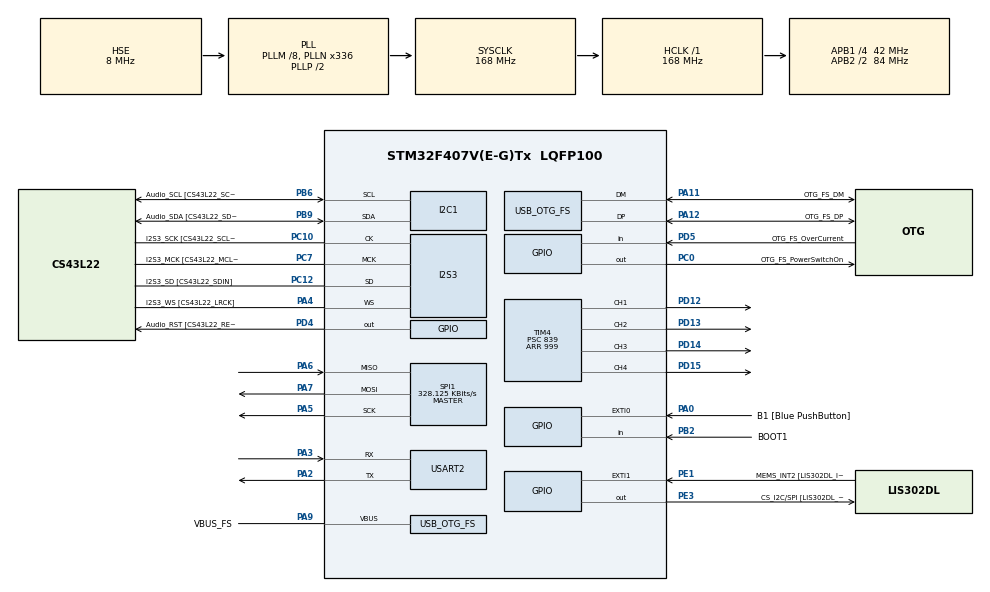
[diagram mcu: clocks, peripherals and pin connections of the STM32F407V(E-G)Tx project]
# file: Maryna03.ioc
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I2S3.AudioFreq-Half_Duplex_Master=I2S_AUDIOFREQ_96K
I2S3.ErrorAudioFreq=-2.34 %
I2S3.ErrorAudioFreq-Half_Duplex_Master=0.8 %
I2S3.FullDuplexMode=I2S_FULLDUPLEXMODE_DISABLE
I2S3.Instance=SPI$Index
I2S3.RealAudioFreq=93.75 KHz
I2S3.RealAudioFreq-Half_Duplex_Master=96.774 KHz
I2S3.VirtualMode=I2S_MODE_MASTER
Mcu.Family=STM32F4
Mcu.Name=STM32F407V(E-G)Tx
Mcu.Package=LQFP100
NVIC.OTG_FS_IRQn=true\:0\:0\:false\:false\:true\:true\:true
NVIC.PriorityGroup=NVIC_PRIORITYGROUP_0
NVIC.USART2_IRQn=true\:0\:0\:false\:false\:true\:true\:true
PA0-WKUP.GPIO_Label=B1 [Blue PushButton]
PA0-WKUP.GPIO_ModeDefaultEXTI=GPIO_MODE_EVT_RISING
PA0-WKUP.GPIO_PuPd=GPIO_NOPULL
PA0-WKUP.Signal=GPXTI0
PA11.GPIO_Label=OTG_FS_DM
PA11.GPIO_Mode=GPIO_MODE_AF_PP
PA11.GPIO_PuPd=GPIO_NOPULL
PA11.GPIO_Speed=GPIO_SPEED_FREQ_LOW
PA11.Mode=Host_Only
PA11.Signal=USB_OTG_FS_DM
PA12.GPIO_Label=OTG_FS_DP
PA12.GPIO_Mode=GPIO_MODE_AF_PP
PA12.GPIO_PuPd=GPIO_NOPULL
PA12.GPIO_Speed=GPIO_SPEED_FREQ_LOW
PA12.Mode=Host_Only
PA12.Signal=USB_OTG_FS_DP
PA13.GPIO_Label=SWDIO
PA13.Mode=Serial_Wire
PA13.Signal=SYS_JTMS-SWDIO
PA14.GPIO_Label=SWCLK
PA14.Mode=Serial_Wire
PA14.Signal=SYS_JTCK-SWCLK
PA2.Mode=Asynchronous
PA2.Signal=USART2_TX
PA3.Mode=Asynchronous
PA3.Signal=USART2_RX
PA4.GPIO_Label=I2S3_WS [CS43L22_LRCK]
PA4.GPIO_Mode=GPIO_MODE_AF_PP
PA4.GPIO_PuPd=GPIO_NOPULL
PA4.GPIO_Speed=GPIO_SPEED_FREQ_LOW
PA4.Mode=Half_Duplex_Master
PA4.Signal=I2S3_WS
PA5.Mode=Full_Duplex_Master
PA5.Signal=SPI1_SCK
PA6.Mode=Full_Duplex_Master
PA6.Signal=SPI1_MISO
PA7.Mode=Full_Duplex_Master
PA7.Signal=SPI1_MOSI
PA9.GPIO_Label=VBUS_FS
PA9.GPIO_Mode=GPIO_MODE_INPUT
PA9.GPIO_PuPd=GPIO_NOPULL
PA9.Mode=Activate_VBUS
PA9.Signal=USB_OTG_FS_VBUS
PB2.GPIO_Label=BOOT1
PB2.GPIO_Mode=GPIO_MODE_INPUT
PB2.GPIO_PuPd=GPIO_NOPULL
PB2.Signal=GPIO_Input
PB6.GPIO_Label=Audio_SCL [CS43L22_SCL]
PB6.GPIO_Mode=GPIO_MODE_AF_OD
PB6.GPIO_Pu=GPIO_PULLUP
PB6.GPIO_PuPd=GPIO_NOPULL
PB6.GPIO_Speed=GPIO_SPEED_FREQ_LOW
PB6.Mode=I2C
PB6.Signal=I2C1_SCL
PB9.GPIO_Label=Audio_SDA [CS43L22_SDA]
PB9.GPIO_Mode=GPIO_MODE_AF_OD
PB9.GPIO_Pu=GPIO_PULLUP
PB9.GPIO_PuPd=GPIO_NOPULL
PB9.GPIO_Speed=GPIO_SPEED_FREQ_LOW
PB9.Mode=I2C
PB9.Signal=I2C1_SDA
PC0.GPIO_Label=OTG_FS_PowerSwitchOn
PC0.GPIO_PuPd=GPIO_NOPULL
PC0.GPIO_Speed=GPIO_SPEED_FREQ_LOW
PC0.PinState=GPIO_PIN_SET
PC0.Signal=GPIO_Output
PC10.GPIO_Label=I2S3_SCK [CS43L22_SCLK]
PC10.GPIO_Mode=GPIO_MODE_AF_PP
PC10.GPIO_PuPd=GPIO_NOPULL
PC10.GPIO_Speed=GPIO_SPEED_FREQ_LOW
PC10.Mode=Half_Duplex_Master
PC10.Signal=I2S3_CK
PC12.GPIO_Label=I2S3_SD [CS43L22_SDIN]
PC12.GPIO_Mode=GPIO_MODE_AF_PP
PC12.GPIO_PuPd=GPIO_NOPULL
PC12.GPIO_Speed=GPIO_SPEED_FREQ_LOW
PC12.Mode=Half_Duplex_Master
PC12.Signal=I2S3_SD
PC14-OSC32_IN.GPIO_Label=PC14-OSC32_IN
PC14-OSC32_IN.Mode=LSE-External-Oscillator
PC14-OSC32_IN.Signal=RCC_OSC32_IN
PC15-OSC32_OUT.GPIO_Label=PC15-OSC32_OUT
PC15-OSC32_OUT.Mode=LSE-External-Oscillator
PC15-OSC32_OUT.Signal=RCC_OSC32_OUT
PC7.GPIO_Label=I2S3_MCK [CS43L22_MCLK]
PC7.GPIO_Mode=GPIO_MODE_AF_PP
PC7.GPIO_PuPd=GPIO_NOPULL
PC7.GPIO_Speed=GPIO_SPEED_FREQ_LOW
PC7.Mode=Master_Clock_Activated
PC7.Signal=I2S3_MCK
PD12.Signal=S_TIM4_CH1
PD13.Signal=S_TIM4_CH2
PD14.Signal=S_TIM4_CH3
PD15.Signal=S_TIM4_CH4
PD4.GPIO_Label=Audio_RST [CS43L22_RESET]
PD4.GPIO_PuPd=GPIO_NOPULL
PD4.GPIO_Speed=GPIO_SPEED_FREQ_LOW
PD4.Signal=GPIO_Output
PD5.GPIO_Label=OTG_FS_OverCurrent
PD5.GPIO_Mode=GPIO_MODE_INPUT
PD5.GPIO_PuPd=GPIO_NOPULL
PD5.Signal=GPIO_Input
PE1.GPIO_Label=MEMS_INT2 [LIS302DL_INT2]
PE1.GPIO_ModeDefaultEXTI=GPIO_MODE_EVT_RISING
PE1.GPIO_PuPd=GPIO_NOPULL
PE1.Signal=GPXTI1
PE3.GPIO_Label=CS_I2C/SPI [LIS302DL_CS_I2C/SPI]
PE3.GPIO_PuPd=GPIO_NOPULL
PE3.GPIO_Speed=GPIO_SPEED_FREQ_HIGH
PE3.PinState=GPIO_PIN_SET
PE3.Signal=GPIO_Output
PH0-OSC_IN.GPIO_Label=PH0-OSC_IN
PH0-OSC_IN.Mode=HSE-External-Oscillator
PH0-OSC_IN.Signal=RCC_OSC_IN
PH1-OSC_OUT.GPIO_Label=PH1-OSC_OUT
PH1-OSC_OUT.Mode=HSE-External-Oscillator
PH1-OSC_OUT.Signal=RCC_OSC_OUT
ProjectManager.HeapSize=0x200
ProjectManager.StackSize=0x400
ProjectManager.TargetToolchain=STM32CubeIDE
RCC.48MHZClocksFreq_Value=48000000
RCC.AHBFreq_Value=168000000
RCC.APB1CLKDivider=RCC_HCLK_DIV4
RCC.APB1Freq_Value=42000000
RCC.APB1TimFreq_Value=84000000
RCC.APB2CLKDivider=RCC_HCLK_DIV2
RCC.APB2Freq_Value=84000000
RCC.APB2TimFreq_Value=168000000
RCC.CortexFreq_Value=168000000
RCC.HCLKFreq_Value=168000000
RCC.HSE_VALUE=8000000
RCC.HSI_VALUE=16000000
RCC.PLLM=8
RCC.PLLN=336
RCC.PLLQ=7
RCC.SYSCLKFreq_VALUE=168000000
RCC.SYSCLKSource=RCC_SYSCLKSOURCE_PLLCLK
RCC.VCOOutputFreq_Value=336000000
SH.S_TIM4_CH1.0=TIM4_CH1,PWM Generation1 CH1
SH.S_TIM4_CH2.0=TIM4_CH2,PWM Generation2 CH2
SH.S_TIM4_CH3.0=TIM4_CH3,PWM Generation3 CH3
SH.S_TIM4_CH4.0=TIM4_CH4,PWM Generation4 CH4
SPI1.BaudRatePrescaler=SPI_BAUDRATEPRESCALER_256
SPI1.CLKPhase=SPI_PHASE_2EDGE
SPI1.CLKPolarity=SPI_POLARITY_HIGH
SPI1.CalculateBaudRate=328.125 KBits/s
SPI1.Direction=SPI_DIRECTION_2LINES
SPI1.Mode=SPI_MODE_MASTER
SPI1.VirtualType=VM_MASTER
TIM4.Channel-PWM\ Generation1\ CH1=TIM_CHANNEL_1
TIM4.Channel-PWM\ Generation2\ CH2=TIM_CHANNEL_2
TIM4.Channel-PWM\ Generation3\ CH3=TIM_CHANNEL_3
TIM4.Channel-PWM\ Generation4\ CH4=TIM_CHANNEL_4
TIM4.Period=999
TIM4.Prescaler=839
TIM4.Pulse-PWM\ Generation1\ CH1=299
USART2.VirtualMode=VM_ASYNC
USB_HOST.BSP.number=1
USB_HOST.USBH_HandleTypeDef-CDC_FS=hUsbHostFS
USB_HOST.VirtualModeFS=Cdc
USB_HOST0.BSP.STBoard=false
USB_HOST0.BSP.api=Unknown
USB_HOST0.BSP.i2caddr=0
USB_HOST0.BSP.i2creg=0
USB_HOST0.BSP.instance=PC0
USB_HOST0.BSP.ip=GPIO
USB_HOST0.BSP.mode=Output
USB_HOST0.BSP.name=Drive_VBUS_FS
USB_HOST0.BSP.solution=PC0
USB_OTG_FS.VirtualMode=Host_Only
USB_OTG_FS.phy_itface=HCD_PHY_EMBEDDED
VP_TIM4_VS_ClockSourceINT.Mode=Internal
VP_USB_HOST_VS_USB_HOST_CDC_FS.Mode=CDC_FS
board=STM32F407G-DISC1

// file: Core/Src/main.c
/* USER CODE BEGIN Header */
/**
  ******************************************************************************
  * @file           : main.c
  * @brief          : Main program body
  ******************************************************************************
  * @attention
  *
  * <h2><center>&copy; Copyright (c) 2021 STMicroelectronics.
  * All rights reserved.</center></h2>
  *
  * This software component is licensed by ST under Ultimate Liberty license
  * SLA0044, the "License"; You may not use this file except in compliance with
  * the License. You may obtain a copy of the License at:
  *                             www.st.com/SLA0044
  *
  ******************************************************************************
  */
/* USER CODE END Header */
#include "main.h"
#include "i2c.h"
#include "i2s.h"
#include "spi.h"
#include "tim.h"
#include "usart.h"
#include "usb_host.h"
#include "gpio.h"

/* USER CODE BEGIN Includes */
#include "stdlib.h"
#include "stdio.h"
#include "string.h"
//#include "MY_LIS3DSH.h"
#include "LIS302DL.h"
#include "tools.h"

/* USER CODE END Includes */

void SystemClock_Config(void);
void MX_USB_HOST_Process(void);

/* USER CODE BEGIN PFP */
inline void showUartTilt(void);
//inline void showLedTilt(void);
inline void showErrorRaport(void);
/* USER CODE END PFP */

/* USER CODE BEGIN 0 */
LIS302DL_DataScaled myData;
LIS302DL_DataRaw myDataRaw;
LIS302DL_InitTypeDef myAccel;
float gain, margin;

uint8_t spiBuf;

/* USER CODE END 0 */

int main(void)
{

  /* MCU Configuration--------------------------------------------------------*/

  /* Reset of all peripherals, Initializes the Flash interface and the Systick. */
  HAL_Init();

  /* Configure the system clock */
  SystemClock_Config();

  /* Initialize all configured peripherals */
  MX_GPIO_Init();
  MX_I2C1_Init();
  MX_I2S3_Init();
  MX_USB_HOST_Init();
  MX_USART2_UART_Init();
  MX_SPI1_Init();
  MX_TIM4_Init();
  /* USER CODE BEGIN 2 */
  HAL_TIM_PWM_Start(&htim4, TIM_CHANNEL_1);
  HAL_TIM_PWM_Start(&htim4, TIM_CHANNEL_2);
  HAL_TIM_PWM_Start(&htim4, TIM_CHANNEL_3);
  HAL_TIM_PWM_Start(&htim4, TIM_CHANNEL_4);

  myAccel.dataRate=LIS302DL_DATARATE_400;
  myAccel.powerDown=LIS302DL_ACTIVE;
  myAccel.fullScale=LIS302DL_FULLSCALE_2;
  myAccel.enableAxes=LIS302DL_XYZ_ENABLE;
  myAccel.serialInterfaceMode=LIS302DL_SERIAL_INTERFACE_4WIRE;
  myAccel.rebootMemory=LIS302DL_BOOT_NORMAL_MODE;
  myAccel.filterConfig=LIS302DL_FILTERING_NONE;
  myAccel.interruptConfig=LIS302DL_INTERRUPT_NONE;
  LIS302DL_Init(&hspi1, &myAccel);

  /* USER CODE END 2 */

  /* Infinite loop */
  /* USER CODE BEGIN WHILE */

	margin =0.0f;
	gain =200.0f;

	//pre-calibration

	LIS302DL_X_calibrate(4.0, -4.0);
	LIS302DL_Y_calibrate(4.0, -4.0);
	LIS302DL_Z_calibrate(4.0, -4.0); //???

  while (1)
  {
    /* USER CODE END WHILE */
    MX_USB_HOST_Process();

    /* USER CODE BEGIN 3 */

    	if (LIS302DL_PollDRDY(1))
    	{
			myData=LIS302DL_GetDataScaled();
			showUartTilt();
    	}
    	else
    	{
    		showErrorRaport();
    	}

    	if (myData.y > margin)
		{
    		__HAL_TIM_SET_COMPARE(&htim4, TIM_CHANNEL_1, abs(gain * myData.y));
		}
    	else
    	{
    		__HAL_TIM_SET_COMPARE(&htim4, TIM_CHANNEL_1, 0);
    	}

    	if (myData.y < -margin)
		{
    		__HAL_TIM_SET_COMPARE(&htim4, TIM_CHANNEL_3, abs(gain * myData.y));
		}
    	else
    	{
    		__HAL_TIM_SET_COMPARE(&htim4, TIM_CHANNEL_3, 0);
    	}

    	if (myData.x > margin)
		{
    		__HAL_TIM_SET_COMPARE(&htim4, TIM_CHANNEL_2, abs(gain * myData.x));
		}
    	else
    	{
    		__HAL_TIM_SET_COMPARE(&htim4, TIM_CHANNEL_2, 0);
    	}

    	if (myData.x < -margin)
		{
    		__HAL_TIM_SET_COMPARE(&htim4, TIM_CHANNEL_4, abs(gain * myData.x));
		}
    	else
    	{
    		__HAL_TIM_SET_COMPARE(&htim4, TIM_CHANNEL_4, 0);
    	}

  }
  /* USER CODE END 3 */
}

void SystemClock_Config(void)
{
  RCC_OscInitTypeDef RCC_OscInitStruct = {0};
  RCC_ClkInitTypeDef RCC_ClkInitStruct = {0};

  /** Configure the main internal regulator output voltage
  */
  __HAL_RCC_PWR_CLK_ENABLE();
  __HAL_PWR_VOLTAGESCALING_CONFIG(PWR_REGULATOR_VOLTAGE_SCALE1);
  /** Initializes the RCC Oscillators according to the specified parameters
  * in the RCC_OscInitTypeDef structure.
  */
  RCC_OscInitStruct.OscillatorType = RCC_OSCILLATORTYPE_HSE;
  RCC_OscInitStruct.HSEState = RCC_HSE_ON;
  RCC_OscInitStruct.PLL.PLLState = RCC_PLL_ON;
  RCC_OscInitStruct.PLL.PLLSource = RCC_PLLSOURCE_HSE;
  RCC_OscInitStruct.PLL.PLLM = 8;
  RCC_OscInitStruct.PLL.PLLN = 336;
  RCC_OscInitStruct.PLL.PLLP = RCC_PLLP_DIV2;
  RCC_OscInitStruct.PLL.PLLQ = 7;
  if (HAL_RCC_OscConfig(&RCC_OscInitStruct) != HAL_OK)
  {
    Error_Handler();
  }
  /** Initializes the CPU, AHB and APB buses clocks
  */
  RCC_ClkInitStruct.ClockType = RCC_CLOCKTYPE_HCLK|RCC_CLOCKTYPE_SYSCLK
                              |RCC_CLOCKTYPE_PCLK1|RCC_CLOCKTYPE_PCLK2;
  RCC_ClkInitStruct.SYSCLKSource = RCC_SYSCLKSOURCE_PLLCLK;
  RCC_ClkInitStruct.AHBCLKDivider = RCC_SYSCLK_DIV1;
  RCC_ClkInitStruct.APB1CLKDivider = RCC_HCLK_DIV4;
  RCC_ClkInitStruct.APB2CLKDivider = RCC_HCLK_DIV2;

  if (HAL_RCC_ClockConfig(&RCC_ClkInitStruct, FLASH_LATENCY_5) != HAL_OK)
  {
    Error_Handler();
  }
}

/* USER CODE BEGIN 4 */
void showUartTilt(void)
{
	sprintf(uartBuffer,"x[g]=%+4.1f \ty[g]=%+4.1f \tz[g]=%+4.1f\n\r", myData.x, myData.y, myData.z);
	uartLog(uartBuffer);
}

void showErrorRaport(void)
{
	//no data message
	sprintf(uartBuffer,"Timeout. No data from g-sensor.\n\r");
	uartLog(uartBuffer);
	//push status registers do UART
	LIS302DL_ReadIO(LIS302DL_STATUS_ADDR, &spiBuf, 1);
	sprintf(uartBuffer,"STAUS_REG: 0x%0X\n\r", spiBuf);
	uartLog(uartBuffer);
	for (int i = 0; i < 3; i++)
	{
		LIS302DL_ReadIO(LIS302DL_CTRL_REG1_ADDR+i, &spiBuf, 1);
		sprintf(uartBuffer,"CTRL_REG%d: 0x%0X\n\r", i, spiBuf);
		uartLog(uartBuffer);
	}
	HAL_Delay(1000);
}

/* USER CODE END 4 */

void Error_Handler(void)
{
  __disable_irq();
  while (1)
  {
  }
}

/************************ (C) COPYRIGHT STMicroelectronics *****END OF FILE****/
